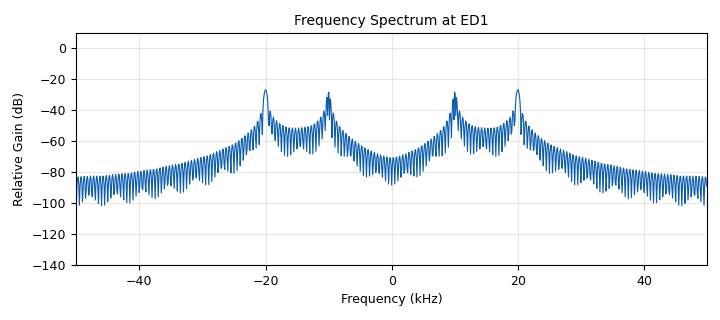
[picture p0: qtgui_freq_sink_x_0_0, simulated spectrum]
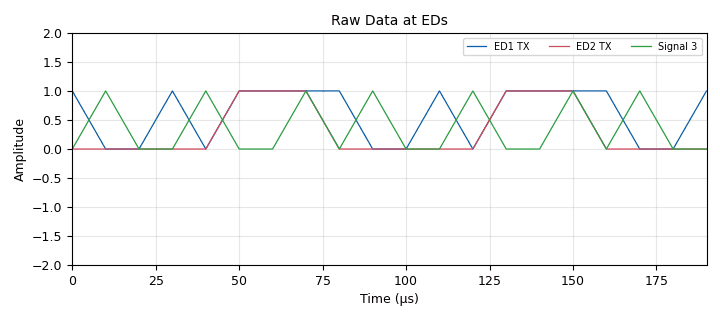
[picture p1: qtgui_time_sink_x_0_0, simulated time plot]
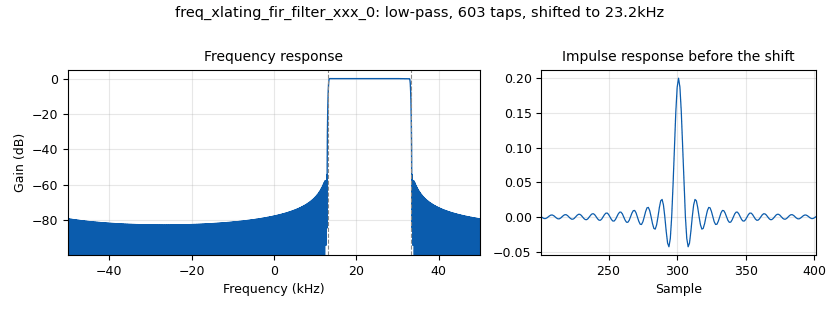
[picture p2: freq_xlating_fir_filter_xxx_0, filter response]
options:
  parameters:
    author: Qi Xiong
    description: FSK_OAC Majority voting with 3 EDs
    generate_options: qt_gui
    id: FSK_3MV
    output_language: python
    title: FSK_3MV
  states: {}

blocks:
- name: baud
  id: variable
  parameters:
    value: 1/0.022
  states: {}
- name: center
  id: variable
  parameters:
    value: '15000'
  states: {}
- name: delay
  id: variable_qtgui_range
  parameters:
    label: Delay
    start: '0'
    step: '1'
    stop: '2500000'
    value: 0/(145+515+50)
  states: {}
- name: freq_offset
  id: variable_qtgui_range
  parameters:
    gui_hint: 3,1,1,1
    label: Freq_offset
    orient: QtCore.Qt.Vertical
    start: '-0.001'
    step: '0.00001'
    stop: '0.001'
    value: '0'
  states: {}
- name: fsk_deviation
  id: variable
  parameters:
    value: '10000'
  states: {}
- name: inp_amp
  id: variable
  parameters:
    value: ((center+(fsk_deviation/2))/vco_max)-vco_offset
  states: {}
- name: noise
  id: variable_qtgui_range
  parameters:
    gui_hint: 3,0,1,1
    label: Noise
    start: '0'
    step: '0.005'
    stop: '1'
    value: '0'
  states: {}
- name: repeat
  id: variable
  parameters:
    value: (int)(samp_rate*0.002)
  states: {}
- name: samp_rate
  id: variable
  parameters:
    value: '100000'
  states: {}
- name: sps
  id: variable
  parameters:
    value: '11'
  states: {}
- name: sq_lvl
  id: variable_qtgui_range
  parameters:
    label: Squelch
    start: '-100'
    step: '5'
    stop: '10'
    value: '-60'
  states: {}
- name: vco_max
  id: variable
  parameters:
    value: '25000'
  states: {}
- name: vco_offset
  id: variable
  parameters:
    value: (center-(fsk_deviation/2))/vco_max
  states: {}
- name: analog_const_source_x_0
  id: analog_const_source_x
  parameters:
    const: '0'
    type: float
  states: {}
- name: analog_const_source_x_0_0
  id: analog_const_source_x
  parameters:
    const: '0'
    type: float
  states: {}
- name: analog_const_source_x_0_0_0
  id: analog_const_source_x
  parameters:
    const: '0'
    type: float
  states: {}
- name: analog_quadrature_demod_cf_1
  id: analog_quadrature_demod_cf
  parameters:
    gain: samp_rate/(2*math.pi*fsk_deviation)
  states: {}
- name: analog_random_source_x_0
  id: analog_random_source_x
  parameters:
    max: '256'
    min: '0'
    num_samps: '1024'
    repeat: 'True'
    type: byte
  states: {state: disabled}
- name: analog_random_source_x_0_0
  id: analog_random_source_x
  parameters:
    max: '256'
    min: '0'
    num_samps: '1024'
    repeat: 'True'
    type: byte
  states: {state: disabled}
- name: analog_simple_squelch_cc_0
  id: analog_simple_squelch_cc
  parameters:
    alpha: '1'
    threshold: sq_lvl
  states: {}
- name: blocks_add_const_vxx_0
  id: blocks_add_const_vxx
  parameters:
    comment: vco_offset
    const: vco_offset
    type: float
  states: {}
- name: blocks_add_const_vxx_0_0
  id: blocks_add_const_vxx
  parameters:
    comment: vco_offset
    const: vco_offset
    type: float
  states: {}
- name: blocks_add_const_vxx_0_0_0
  id: blocks_add_const_vxx
  parameters:
    comment: vco_offset
    const: vco_offset
    type: float
  states: {}
- name: blocks_add_const_vxx_1
  id: blocks_add_const_vxx
  parameters:
    const: '-0.28'
    type: float
  states: {}
- name: blocks_add_const_vxx_1_0
  id: blocks_add_const_vxx
  parameters:
    const: '-1.5'
    type: float
  states: {}
- name: blocks_add_xx_0
  id: blocks_add_xx
  parameters:
    num_inputs: '3'
    type: float
  states: {}
- name: blocks_complex_to_float_0
  id: blocks_complex_to_float
  parameters: {}
  states: {}
- name: blocks_delay_0
  id: blocks_delay
  parameters:
    delay: '4'
    type: float
  states: {}
- name: blocks_file_sink_0
  id: blocks_file_sink
  parameters:
    file: E:\KTH\MaterThesis\Trial0_3ED_ESRX.txt
    type: int
    unbuffered: 'True'
  states: {}
- name: blocks_file_source_0
  id: blocks_file_source
  parameters:
    file: E:\KTH\MaterThesis\Trial1_TX1sequence.txt
    repeat: 'False'
    type: byte
  states: {state: disabled}
- name: blocks_file_source_0_0
  id: blocks_file_source
  parameters:
    file: E:\KTH\MaterThesis\Trial1_TX2sequence.txt
    repeat: 'False'
    type: byte
  states: {state: disabled}
- name: blocks_float_to_complex_1
  id: blocks_float_to_complex
  parameters: {}
  states: {}
- name: blocks_float_to_complex_1_0
  id: blocks_float_to_complex
  parameters: {}
  states: {}
- name: blocks_float_to_complex_1_0_0
  id: blocks_float_to_complex
  parameters: {}
  states: {}
- name: blocks_float_to_int_0
  id: blocks_float_to_int
  parameters:
    scale: '1'
  states: {}
- name: blocks_integrate_xx_0
  id: blocks_integrate_xx
  parameters:
    decim: repeat
    type: float
  states: {}
- name: blocks_multiply_const_vxx_0
  id: blocks_multiply_const_vxx
  parameters:
    comment: inp_amp
    const: inp_amp
    type: float
  states: {}
- name: blocks_multiply_const_vxx_0_0
  id: blocks_multiply_const_vxx
  parameters:
    comment: inp_amp
    const: inp_amp
    type: float
  states: {}
- name: blocks_multiply_const_vxx_0_0_0
  id: blocks_multiply_const_vxx
  parameters:
    comment: inp_amp
    const: inp_amp
    type: float
  states: {}
- name: blocks_multiply_const_vxx_1
  id: blocks_multiply_const_vxx
  parameters:
    const: 1/200
    type: float
  states: {}
- name: blocks_null_sink_0
  id: blocks_null_sink
  parameters:
    type: float
  states: {}
- name: blocks_repeat_0
  id: blocks_repeat
  parameters:
    interp: repeat
    type: byte
  states: {}
- name: blocks_repeat_0_0
  id: blocks_repeat
  parameters:
    interp: repeat
    type: byte
  states: {}
- name: blocks_repeat_0_0_0
  id: blocks_repeat
  parameters:
    interp: repeat
    type: byte
  states: {}
- name: blocks_uchar_to_float_0
  id: blocks_uchar_to_float
  parameters: {}
  states: {}
- name: blocks_uchar_to_float_0_0
  id: blocks_uchar_to_float
  parameters: {}
  states: {}
- name: blocks_uchar_to_float_0_0_0
  id: blocks_uchar_to_float
  parameters: {}
  states: {}
- name: blocks_uchar_to_float_0_0_0_0
  id: blocks_uchar_to_float
  parameters: {}
  states: {}
- name: blocks_uchar_to_float_0_1
  id: blocks_uchar_to_float
  parameters: {}
  states: {}
- name: blocks_uchar_to_float_0_1_0
  id: blocks_uchar_to_float
  parameters: {}
  states: {}
- name: blocks_unpack_k_bits_bb_0
  id: blocks_unpack_k_bits_bb
  parameters:
    k: '1'
  states: {}
- name: blocks_unpack_k_bits_bb_0_0
  id: blocks_unpack_k_bits_bb
  parameters:
    k: '1'
  states: {}
- name: blocks_unpack_k_bits_bb_0_0_0
  id: blocks_unpack_k_bits_bb
  parameters:
    k: '1'
  states: {}
- name: blocks_vco_f_0
  id: blocks_vco_f
  parameters:
    amplitude: '0.5'
    samp_rate: samp_rate
    sensitivity: 15708*10
  states: {}
- name: blocks_vco_f_0_0
  id: blocks_vco_f
  parameters:
    amplitude: '0.5'
    samp_rate: samp_rate
    sensitivity: 15708*10
  states: {}
- name: blocks_vco_f_0_0_0
  id: blocks_vco_f
  parameters:
    amplitude: '0.5'
    samp_rate: samp_rate
    sensitivity: 15708*10
  states: {}
- name: blocks_vector_source_x_0
  id: blocks_vector_source_x
  parameters:
    repeat: 'True'
    type: byte
    vector: (1, 1, 1, 0, 0, 1, 0, 1)
  states: {}
- name: blocks_vector_source_x_0_0
  id: blocks_vector_source_x
  parameters:
    repeat: 'True'
    type: byte
    vector: (1, 1, 0, 0, 0, 0, 0, 1)
  states: {}
- name: blocks_vector_source_x_0_0_0
  id: blocks_vector_source_x
  parameters:
    repeat: 'True'
    type: float
    vector: (1, 1, 0, 0, 0, 0, 0, 1)
  states: {}
- name: blocks_vector_source_x_0_0_1
  id: blocks_vector_source_x
  parameters:
    repeat: 'True'
    type: byte
    vector: (0,0,0,0,1,1,1,0,0,0,0,1,1,0,1,0,1,0,0,0,1,0,0,0,1,1,1,1,1,1,1,0,0,0,1,1,1,0,0,1,0,1,1,0,0,0,1,1,0,1,1,1,1,1,0,1,0,1,0,0,0,1,0,0,0,1,1,0,1,0,1,1,1,1,1,1,1,1,1,0,1,0,1,0,1,0,0,0,0,1,1,1,1,1,1,0,0,1,0,1,1,0,0,0,1,0,0,1,0,1,0,1,0,0,1,0,0,1,0,1,0,0,0,0,1,0,0,0,0,0,0,1,0,1,0,0,1,1,1,0,0,0,1,0,1,0,1,1,1,0,0,0,1,0,0,0,0,1,1,0,1,0,1,1,0,1,0,0,0,1,0,1,1,1,0,0,1,1,1,1,1,0,0,0,0,0,0,1,0,1,1,1,1,0,0,0,1,1,1,0,0,0,1,1,1,0,0,1,0,0,0,1,0,1,0,0,1,1,1,0,1,1,0,0,0,1,0,0,1,1,0,0,0,1,1,0,1,1,1,0,1,1,1,0,1,1,0,1,1,0,0,0,0,0,0,1,0,1,1,0,1,0,0,1,0,0,0,0,1,1,0,0,1,1,0,0,0,1,0,1,0,1,0,0,0,1,1,1,0,0,0,0,0,1,1,0,1,0,0,1,0,0,1,0,1,1,1,0,1,0,0,1,0,0,1,1,1,0,1,1,0,1,1,1,0,1,0,0,0,1,1,1,1,1,0,0,0,0,1,0,0,1,0,1,0,0,0,0,0,1,1,0,0,1,1,1,0,1,1,0,1,0,0,0,0,1,0,1,0,1,0,0,1,1,0,1,0,0,0,1,0,1,0,1,0,0,1,1,0,0,1,0,0,0,1,1,0,1,0,0,1,1,0,1,1,1,1,1,0,1,0,0,0,1,1,0,1,0,0,1,1,1,0,1,0,1,1,1,0,1,0,1,1,0,0,1,0,1,0,0,0,0,0,1,0,0,1,0,1,0,1,1,1,1,1,1,1,1,1,1,0,0,0,0,1,1,1,1,1,0,1,1,1,1,1,1,1,0,0,0,0,0,1,0,1,1,0,1,0,0,1,1,0,1,0,0,0,1,1,1,1,1,1,0,0,0,0,1,1,1,1,1,1,0,0,1,1,1,0,0,0,1,0,1,0,0,0,1,0,0,1,1,1,1,0,1,0,1,1,1,1,1,1,1,1,1,0,0,1,0,0,0,0,0,0,0,0,0,1,1,1,1,1,0,0,0,0,0,0,0,0,1,0,0,1,1,1,1,1,0,1,0,0,0,1,1,0,0,1,0,1,0,0,1,0,0,0,1,0,1,0,1,1,0,0,1,1,1,0,0,1,1,1,0,0,1,0,1,0,0,0,0,1,1,1,1,1,1,0,1,1,0,1,1,1,1,1,1,0,1,0,1,1,1,1,0,1,1,0,0,0,1,1,0,1,0,1,0,1,0,0,0,0,0,1,1,0,1,1,1,1,1,1,1,0,0,1,0,0,1,0,1,0,1,0,0,1,0,1,0,0,1,0,1,0,0,1,1,0,1,1,1,0,0,0,0,1,1,1,0,0,0,1,0,0,0,1,0,0,1,1,0,0,0,0,0,0,0,1,1,1,1,1,1,1,1,0,0,1,1,0,0,1,0,0,1,0,1,0,1,1,1,1,0,0,0,1,0,0,1,0,1,1,0,1,0,0,1,0,1,1,1,0,1,1,0,0,1,0,0,1,1,0,0,1,1,1,1,0,0,1,0,0,1,0,1,1,0,1,1,0,0,1,0,0,1,0,1,0,1,0,1,1,1,1,1,1,1,0,1,0,1,0,0,1,0,1,0,1,1,0,0,1,1,1,0,1,1,0,0,1,1,0,0,0,0,0,0,0,0,0,0,1,0,0,0,1,1,1,1,0,0,1,0,1,1,0,1,1,0,1,0,1,1,0,0,1,0,1,0,1,0,0,0,0,1,0,1,0,0,0,1,1,1,0,1,0,1,1,1,0,0,1,1,1,1,0,1,0,0,0,0,1,1,1,0,1,1,1,0,0,0,1,1,0,1,0,1,1,0,1,0,1,1,0,0,1,1,0,0,1,1,0,0,1,0,1,1,0,1,1,0,0,1,1,1,0,1,0,0,0,0,0,0,0,0,0,1,1,1,0,0,0,1,1,1,0,1,1,1,1,1,1,1,0,0,0,1,0,1,0,0,0,1,1,1,1,1,0,0)
  states: {state: disabled}
- name: blocks_vector_source_x_0_0_1_0
  id: blocks_vector_source_x
  parameters:
    repeat: 'True'
    type: float
    vector: (0,0,0,0,1,1,1,0,0,0,0,1,1,0,1,0,1,0,0,0,1,0,0,0,1,1,1,1,1,1,1,0,0,0,1,1,1,0,0,1,0,1,1,0,0,0,1,1,0,1,1,1,1,1,0,1,0,1,0,0,0,1,0,0,0,1,1,0,1,0,1,1,1,1,1,1,1,1,1,0,1,0,1,0,1,0,0,0,0,1,1,1,1,1,1,0,0,1,0,1,1,0,0,0,1,0,0,1,0,1,0,1,0,0,1,0,0,1,0,1,0,0,0,0,1,0,0,0,0,0,0,1,0,1,0,0,1,1,1,0,0,0,1,0,1,0,1,1,1,0,0,0,1,0,0,0,0,1,1,0,1,0,1,1,0,1,0,0,0,1,0,1,1,1,0,0,1,1,1,1,1,0,0,0,0,0,0,1,0,1,1,1,1,0,0,0,1,1,1,0,0,0,1,1,1,0,0,1,0,0,0,1,0,1,0,0,1,1,1,0,1,1,0,0,0,1,0,0,1,1,0,0,0,1,1,0,1,1,1,0,1,1,1,0,1,1,0,1,1,0,0,0,0,0,0,1,0,1,1,0,1,0,0,1,0,0,0,0,1,1,0,0,1,1,0,0,0,1,0,1,0,1,0,0,0,1,1,1,0,0,0,0,0,1,1,0,1,0,0,1,0,0,1,0,1,1,1,0,1,0,0,1,0,0,1,1,1,0,1,1,0,1,1,1,0,1,0,0,0,1,1,1,1,1,0,0,0,0,1,0,0,1,0,1,0,0,0,0,0,1,1,0,0,1,1,1,0,1,1,0,1,0,0,0,0,1,0,1,0,1,0,0,1,1,0,1,0,0,0,1,0,1,0,1,0,0,1,1,0,0,1,0,0,0,1,1,0,1,0,0,1,1,0,1,1,1,1,1,0,1,0,0,0,1,1,0,1,0,0,1,1,1,0,1,0,1,1,1,0,1,0,1,1,0,0,1,0,1,0,0,0,0,0,1,0,0,1,0,1,0,1,1,1,1,1,1,1,1,1,1,0,0,0,0,1,1,1,1,1,0,1,1,1,1,1,1,1,0,0,0,0,0,1,0,1,1,0,1,0,0,1,1,0,1,0,0,0,1,1,1,1,1,1,0,0,0,0,1,1,1,1,1,1,0,0,1,1,1,0,0,0,1,0,1,0,0,0,1,0,0,1,1,1,1,0,1,0,1,1,1,1,1,1,1,1,1,0,0,1,0,0,0,0,0,0,0,0,0,1,1,1,1,1,0,0,0,0,0,0,0,0,1,0,0,1,1,1,1,1,0,1,0,0,0,1,1,0,0,1,0,1,0,0,1,0,0,0,1,0,1,0,1,1,0,0,1,1,1,0,0,1,1,1,0,0,1,0,1,0,0,0,0,1,1,1,1,1,1,0,1,1,0,1,1,1,1,1,1,0,1,0,1,1,1,1,0,1,1,0,0,0,1,1,0,1,0,1,0,1,0,0,0,0,0,1,1,0,1,1,1,1,1,1,1,0,0,1,0,0,1,0,1,0,1,0,0,1,0,1,0,0,1,0,1,0,0,1,1,0,1,1,1,0,0,0,0,1,1,1,0,0,0,1,0,0,0,1,0,0,1,1,0,0,0,0,0,0,0,1,1,1,1,1,1,1,1,0,0,1,1,0,0,1,0,0,1,0,1,0,1,1,1,1,0,0,0,1,0,0,1,0,1,1,0,1,0,0,1,0,1,1,1,0,1,1,0,0,1,0,0,1,1,0,0,1,1,1,1,0,0,1,0,0,1,0,1,1,0,1,1,0,0,1,0,0,1,0,1,0,1,0,1,1,1,1,1,1,1,0,1,0,1,0,0,1,0,1,0,1,1,0,0,1,1,1,0,1,1,0,0,1,1,0,0,0,0,0,0,0,0,0,0,1,0,0,0,1,1,1,1,0,0,1,0,1,1,0,1,1,0,1,0,1,1,0,0,1,0,1,0,1,0,0,0,0,1,0,1,0,0,0,1,1,1,0,1,0,1,1,1,0,0,1,1,1,1,0,1,0,0,0,0,1,1,1,0,1,1,1,0,0,0,1,1,0,1,0,1,1,0,1,0,1,1,0,0,1,1,0,0,1,1,0,0,1,0,1,1,0,1,1,0,0,1,1,1,0,1,0,0,0,0,0,0,0,0,0,1,1,1,0,0,0,1,1,1,0,1,1,1,1,1,1,1,0,0,0,1,0,1,0,0,0,1,1,1,1,1,0,0)
  states: {state: disabled}
- name: blocks_vector_source_x_0_0_2
  id: blocks_vector_source_x
  parameters:
    repeat: 'True'
    type: byte
    vector: (0, 1, 0, 1, 0, 0, 1, 0)
  states: {}
- name: blocks_vector_source_x_0_0_2_0
  id: blocks_vector_source_x
  parameters:
    repeat: 'True'
    type: float
    vector: (0, 1, 0, 1, 0, 0, 1, 0)
  states: {}
- name: blocks_vector_source_x_0_1
  id: blocks_vector_source_x
  parameters:
    repeat: 'True'
    type: float
    vector: (1, 1, 1, 0, 0, 1, 0, 1)
  states: {}
- name: blocks_vector_source_x_0_2
  id: blocks_vector_source_x
  parameters:
    repeat: 'True'
    type: byte
    vector: (0,1,0,1,1,1,0,1,0,0,1,0,0,0,0,1,1,1,0,1,1,1,0,0,0,1,1,1,0,0,0,0,1,1,1,1,1,1,1,1,0,1,1,1,1,1,1,1,1,1,1,0,1,1,0,0,1,0,1,1,1,0,1,1,0,1,0,1,0,1,0,1,1,1,0,0,1,1,1,0,0,1,0,1,1,0,0,1,1,1,1,0,0,1,0,1,0,1,1,0,0,0,0,0,1,0,1,0,1,1,1,1,1,1,0,0,0,1,0,0,1,1,0,0,0,1,0,1,0,0,1,1,1,0,1,1,1,0,1,1,0,0,0,1,1,1,1,1,0,1,1,1,0,1,0,1,1,1,0,0,1,1,1,0,1,1,1,1,1,0,0,0,0,0,0,0,1,1,1,1,1,0,1,1,1,1,1,1,0,1,0,0,1,1,1,1,1,1,1,0,1,0,1,1,1,1,0,1,1,1,0,0,1,1,0,1,0,1,0,1,0,1,1,0,0,1,0,1,1,0,1,1,1,0,1,0,1,0,1,1,0,1,0,0,0,1,0,0,0,0,1,0,0,0,1,1,0,0,1,0,0,0,1,1,1,0,0,0,1,1,0,1,1,1,0,1,0,1,0,1,1,0,0,0,0,1,1,1,0,0,0,1,0,1,0,1,1,0,1,1,1,1,1,1,1,1,0,0,1,0,0,1,0,1,0,1,1,1,0,0,0,1,0,0,1,0,0,0,1,0,1,1,1,0,1,1,1,0,1,0,1,1,1,0,1,1,1,1,0,1,1,0,1,0,1,1,0,0,0,0,0,1,0,0,1,0,0,1,1,1,0,0,0,0,1,1,1,0,0,0,1,0,1,0,0,0,1,0,0,1,0,0,0,1,1,0,1,0,0,0,1,0,0,1,0,0,1,1,0,0,0,0,0,0,0,0,1,1,1,1,0,1,0,0,1,1,0,1,0,1,0,0,0,0,0,1,0,1,1,1,1,0,0,0,0,0,0,0,0,1,0,1,0,0,1,0,0,1,0,1,0,0,1,0,0,1,1,1,1,1,1,0,1,0,1,1,1,1,1,0,0,1,1,1,0,0,0,0,1,1,1,0,1,0,1,0,1,0,0,1,0,1,0,0,0,0,0,1,0,1,1,1,0,0,1,1,1,1,0,0,0,0,1,0,1,0,1,0,0,0,0,0,1,0,0,1,1,0,0,1,1,1,0,1,0,1,0,1,1,0,1,1,0,0,0,1,1,1,0,1,0,0,1,1,0,0,0,0,0,0,0,0,0,1,1,1,0,0,0,0,0,0,1,1,0,1,1,0,1,0,0,0,1,0,0,0,0,1,1,0,1,0,0,1,0,1,0,0,1,0,0,0,0,0,0,1,1,0,1,1,0,1,1,1,0,0,1,1,1,0,1,1,1,1,1,0,1,1,0,0,1,0,0,0,0,0,0,0,0,0,1,1,1,1,1,1,1,1,1,0,1,0,1,1,0,1,1,0,0,0,0,0,1,1,0,0,1,0,0,0,0,1,1,1,1,1,1,1,0,1,0,0,0,0,0,1,0,0,1,0,1,1,0,0,0,1,1,1,1,1,0,1,1,1,1,0,1,0,1,1,0,1,1,0,0,0,1,0,0,1,0,1,0,1,1,1,1,0,1,1,0,1,0,1,0,1,1,1,0,1,0,1,0,0,0,0,1,0,0,0,0,0,1,0,0,1,0,1,0,0,0,0,1,1,1,0,1,0,0,1,0,1,0,1,1,1,0,1,1,0,0,1,0,1,0,1,1,1,1,0,1,1,1,1,0,1,0,0,1,1,1,1,0,0,1,0,1,0,1,0,0,0,1,1,1,0,1,0,1,0,0,1,0,1,1,1,0,0,1,1,1,0,0,0,0,0,1,0,0,0,1,0,1,1,0,1,1,0,1,0,0,1,0,0,0,0,0,0,1,0,0,1,1,0,1,1,0,0,0,1,0,0,1,0,1,1,1,1,1,0,1,0,1,0,1,1,0,0,1,1,0,0,0,1,1,0,0,0,1,1,0,0,0,0,0,0,0,1,0,1,1,1,1,1,0,0,0,0,1,1,0,0,0,0,0,0,0,0,0,1,0,0,0,0,0,0,0,0,1,1,0,1,1,1,0,0,1,0,1,1,1,0,0,1,1,1,0,1,0,1,0,0,0,1,0,0,1,0,1,1,1,1,1,0,1,0,1,1,0,1,1,0,1,0,0,1,0,1,0,0)
  states: {state: disabled}
- name: blocks_vector_source_x_0_2_0
  id: blocks_vector_source_x
  parameters:
    repeat: 'True'
    type: float
    vector: (0,1,0,1,1,1,0,1,0,0,1,0,0,0,0,1,1,1,0,1,1,1,0,0,0,1,1,1,0,0,0,0,1,1,1,1,1,1,1,1,0,1,1,1,1,1,1,1,1,1,1,0,1,1,0,0,1,0,1,1,1,0,1,1,0,1,0,1,0,1,0,1,1,1,0,0,1,1,1,0,0,1,0,1,1,0,0,1,1,1,1,0,0,1,0,1,0,1,1,0,0,0,0,0,1,0,1,0,1,1,1,1,1,1,0,0,0,1,0,0,1,1,0,0,0,1,0,1,0,0,1,1,1,0,1,1,1,0,1,1,0,0,0,1,1,1,1,1,0,1,1,1,0,1,0,1,1,1,0,0,1,1,1,0,1,1,1,1,1,0,0,0,0,0,0,0,1,1,1,1,1,0,1,1,1,1,1,1,0,1,0,0,1,1,1,1,1,1,1,0,1,0,1,1,1,1,0,1,1,1,0,0,1,1,0,1,0,1,0,1,0,1,1,0,0,1,0,1,1,0,1,1,1,0,1,0,1,0,1,1,0,1,0,0,0,1,0,0,0,0,1,0,0,0,1,1,0,0,1,0,0,0,1,1,1,0,0,0,1,1,0,1,1,1,0,1,0,1,0,1,1,0,0,0,0,1,1,1,0,0,0,1,0,1,0,1,1,0,1,1,1,1,1,1,1,1,0,0,1,0,0,1,0,1,0,1,1,1,0,0,0,1,0,0,1,0,0,0,1,0,1,1,1,0,1,1,1,0,1,0,1,1,1,0,1,1,1,1,0,1,1,0,1,0,1,1,0,0,0,0,0,1,0,0,1,0,0,1,1,1,0,0,0,0,1,1,1,0,0,0,1,0,1,0,0,0,1,0,0,1,0,0,0,1,1,0,1,0,0,0,1,0,0,1,0,0,1,1,0,0,0,0,0,0,0,0,1,1,1,1,0,1,0,0,1,1,0,1,0,1,0,0,0,0,0,1,0,1,1,1,1,0,0,0,0,0,0,0,0,1,0,1,0,0,1,0,0,1,0,1,0,0,1,0,0,1,1,1,1,1,1,0,1,0,1,1,1,1,1,0,0,1,1,1,0,0,0,0,1,1,1,0,1,0,1,0,1,0,0,1,0,1,0,0,0,0,0,1,0,1,1,1,0,0,1,1,1,1,0,0,0,0,1,0,1,0,1,0,0,0,0,0,1,0,0,1,1,0,0,1,1,1,0,1,0,1,0,1,1,0,1,1,0,0,0,1,1,1,0,1,0,0,1,1,0,0,0,0,0,0,0,0,0,1,1,1,0,0,0,0,0,0,1,1,0,1,1,0,1,0,0,0,1,0,0,0,0,1,1,0,1,0,0,1,0,1,0,0,1,0,0,0,0,0,0,1,1,0,1,1,0,1,1,1,0,0,1,1,1,0,1,1,1,1,1,0,1,1,0,0,1,0,0,0,0,0,0,0,0,0,1,1,1,1,1,1,1,1,1,0,1,0,1,1,0,1,1,0,0,0,0,0,1,1,0,0,1,0,0,0,0,1,1,1,1,1,1,1,0,1,0,0,0,0,0,1,0,0,1,0,1,1,0,0,0,1,1,1,1,1,0,1,1,1,1,0,1,0,1,1,0,1,1,0,0,0,1,0,0,1,0,1,0,1,1,1,1,0,1,1,0,1,0,1,0,1,1,1,0,1,0,1,0,0,0,0,1,0,0,0,0,0,1,0,0,1,0,1,0,0,0,0,1,1,1,0,1,0,0,1,0,1,0,1,1,1,0,1,1,0,0,1,0,1,0,1,1,1,1,0,1,1,1,1,0,1,0,0,1,1,1,1,0,0,1,0,1,0,1,0,0,0,1,1,1,0,1,0,1,0,0,1,0,1,1,1,0,0,1,1,1,0,0,0,0,0,1,0,0,0,1,0,1,1,0,1,1,0,1,0,0,1,0,0,0,0,0,0,1,0,0,1,1,0,1,1,0,0,0,1,0,0,1,0,1,1,1,1,1,0,1,0,1,0,1,1,0,0,1,1,0,0,0,1,1,0,0,0,1,1,0,0,0,0,0,0,0,1,0,1,1,1,1,1,0,0,0,0,1,1,0,0,0,0,0,0,0,0,0,1,0,0,0,0,0,0,0,0,1,1,0,1,1,1,0,0,1,0,1,1,1,0,0,1,1,1,0,1,0,1,0,0,0,1,0,0,1,0,1,1,1,1,1,0,1,0,1,1,0,1,1,0,1,0,0,1,0,1,0,0)
  states: {state: disabled}
- name: digital_binary_slicer_fb_0
  id: digital_binary_slicer_fb
  parameters: {}
  states: {}
- name: digital_binary_slicer_fb_0_0
  id: digital_binary_slicer_fb
  parameters: {}
  states: {}
- name: digital_binary_slicer_fb_0_0_0
  id: digital_binary_slicer_fb
  parameters: {}
  states: {}
- name: freq_xlating_fir_filter_xxx_0
  id: freq_xlating_fir_filter_xxx
  parameters:
    center_freq: center+8200
    decim: '1'
    samp_rate: samp_rate
    taps: firdes.low_pass(1.0,samp_rate,10000,400)
    type: fcf
  states: {}
- name: iio_pluto_sink_0
  id: iio_pluto_sink
  parameters:
    attenuation1: '10.0'
    bandwidth: '20000000'
    buffer_size: '4096'
    cyclic: 'False'
    filter_source: '''Auto'''
    frequency: '2400000000'
    samplerate: samp_rate
    type: fc32
    uri: ip:192.168.2.1
  states: {}
- name: iio_pluto_sink_0_0
  id: iio_pluto_sink
  parameters:
    attenuation1: '10.0'
    bandwidth: '20000000'
    buffer_size: '4096'
    cyclic: 'False'
    filter_source: '''Auto'''
    frequency: '2400000000'
    samplerate: samp_rate
    type: fc32
    uri: ip:192.168.6.1
  states: {}
- name: iio_pluto_sink_0_0_0
  id: iio_pluto_sink
  parameters:
    attenuation1: '10.0'
    bandwidth: '20000000'
    buffer_size: '4096'
    cyclic: 'False'
    filter_source: '''Auto'''
    frequency: '2400000000'
    samplerate: samp_rate
    type: fc32
    uri: ip:192.168.5.1
  states: {}
- name: iio_pluto_source_0
  id: iio_pluto_source
  parameters:
    bandwidth: '20000000'
    bbdc: 'True'
    buffer_size: '4096'
    filter_source: '''Auto'''
    frequency: '2400000000'
    gain1: '''slow_attack'''
    quadrature: 'True'
    rfdc: 'True'
    samplerate: samp_rate
    type: fc32
    uri: ip:192.168.4.1
  states: {}
- name: qtgui_eye_sink_x_0
  id: qtgui_eye_sink_x
  parameters:
    samp_per_symbol: sps
    size: '1024'
    srate: '500'
    tr_mode: qtgui.TRIG_MODE_AUTO
    tr_tag: ''
    type: float
  states: {state: disabled}
- name: qtgui_freq_sink_x_0
  id: qtgui_freq_sink_x
  parameters:
    average: '0.1'
    bw: samp_rate
    fc: '0'
    fftsize: '1024'
    gui_hint: 1,0,1,1
    name: '"Frequency Spectrum at ES RX"'
    type: complex
    ymin: '-160'
  states: {}
- name: qtgui_freq_sink_x_0_0
  id: qtgui_freq_sink_x
  parameters:
    bw: samp_rate
    fc: '0'
    fftsize: '1024'
    gui_hint: 0,0,1,1
    name: '"Frequency Spectrum at ED1"'
    type: complex
  states: {}
- name: qtgui_freq_sink_x_0_0_0
  id: qtgui_freq_sink_x
  parameters:
    bw: samp_rate
    fc: '0'
    fftsize: '1024'
    gui_hint: 0,1,1,1
    type: complex
  states: {state: disabled}
- name: qtgui_time_sink_x_0
  id: qtgui_time_sink_x
  parameters:
    ctrlpanel: 'True'
    label1: OAC_Result
    label2: Direct_adding
    name: '"Comparison Between AirComp and Ground True"'
    nconnections: '2'
    size: '20'
    srate: samp_rate
    tr_level: '0.5'
    tr_mode: qtgui.TRIG_MODE_NORM
    tr_slope: qtgui.TRIG_SLOPE_NEG
    type: float
    ymax: '2'
    ymin: '-2'
  states: {}
- name: qtgui_time_sink_x_0_0
  id: qtgui_time_sink_x
  parameters:
    ctrlpanel: 'True'
    gui_hint: 1,1,1,1
    label1: ED1 TX
    label2: ED2 TX
    name: '"Raw Data at EDs"'
    nconnections: '3'
    size: '20'
    srate: samp_rate
    style2: '2'
    tr_level: '0.5'
    tr_mode: qtgui.TRIG_MODE_NORM
    tr_slope: qtgui.TRIG_SLOPE_NEG
    type: float
    ymax: '2'
    ymin: '-2'
  states: {}
- name: rational_resampler_xxx_0_0
  id: rational_resampler_xxx
  parameters:
    comment: |-
      sample rate 500 ->
      11 samples per symbol
    decim: '96'
    interp: '1'
    taps: ''
    type: fff
  states: {state: disabled}
- name: virtual_sink_0
  id: virtual_sink
  parameters:
    stream_id: '"xmt_data"'
  states: {}
- name: virtual_sink_0_0
  id: virtual_sink
  parameters:
    stream_id: '"xmt_data_1"'
  states: {}
- name: virtual_sink_0_0_0
  id: virtual_sink
  parameters:
    stream_id: '"xmt_data_2"'
  states: {}
- name: virtual_source_0
  id: virtual_source
  parameters:
    stream_id: '"xmt_data"'
  states: {}
- name: virtual_source_0_1
  id: virtual_source
  parameters:
    stream_id: '"xmt_data_1"'
  states: {}
- name: virtual_source_0_1_0
  id: virtual_source
  parameters:
    stream_id: '"xmt_data_2"'
  states: {}

connections:
- [analog_const_source_x_0, '0', blocks_float_to_complex_1, '1']
- [analog_const_source_x_0_0, '0', blocks_float_to_complex_1_0, '1']
- [analog_const_source_x_0_0_0, '0', blocks_float_to_complex_1_0_0, '1']
- [analog_quadrature_demod_cf_1, '0', digital_binary_slicer_fb_0, '0']
- [analog_quadrature_demod_cf_1, '0', rational_resampler_xxx_0_0, '0']
- [analog_random_source_x_0, '0', blocks_unpack_k_bits_bb_0, '0']
- [analog_random_source_x_0_0, '0', blocks_unpack_k_bits_bb_0_0, '0']
- [analog_simple_squelch_cc_0, '0', analog_quadrature_demod_cf_1, '0']
- [blocks_add_const_vxx_0, '0', blocks_vco_f_0, '0']
- [blocks_add_const_vxx_0_0, '0', blocks_vco_f_0_0, '0']
- [blocks_add_const_vxx_0_0_0, '0', blocks_vco_f_0_0_0, '0']
- [blocks_add_const_vxx_1, '0', digital_binary_slicer_fb_0_0, '0']
- [blocks_add_const_vxx_1_0, '0', digital_binary_slicer_fb_0_0_0, '0']
- [blocks_add_xx_0, '0', blocks_add_const_vxx_1_0, '0']
- [blocks_complex_to_float_0, '0', freq_xlating_fir_filter_xxx_0, '0']
- [blocks_complex_to_float_0, '1', blocks_null_sink_0, '0']
- [blocks_delay_0, '0', qtgui_time_sink_x_0, '1']
- [blocks_file_source_0, '0', blocks_unpack_k_bits_bb_0, '0']
- [blocks_file_source_0_0, '0', blocks_unpack_k_bits_bb_0_0, '0']
- [blocks_float_to_complex_1, '0', iio_pluto_sink_0, '0']
- [blocks_float_to_complex_1, '0', qtgui_freq_sink_x_0_0, '0']
- [blocks_float_to_complex_1_0, '0', iio_pluto_sink_0_0, '0']
- [blocks_float_to_complex_1_0, '0', qtgui_freq_sink_x_0_0_0, '0']
- [blocks_float_to_complex_1_0_0, '0', iio_pluto_sink_0_0_0, '0']
- [blocks_float_to_int_0, '0', blocks_file_sink_0, '0']
- [blocks_integrate_xx_0, '0', blocks_multiply_const_vxx_1, '0']
- [blocks_multiply_const_vxx_0, '0', blocks_add_const_vxx_0, '0']
- [blocks_multiply_const_vxx_0_0, '0', blocks_add_const_vxx_0_0, '0']
- [blocks_multiply_const_vxx_0_0_0, '0', blocks_add_const_vxx_0_0_0, '0']
- [blocks_multiply_const_vxx_1, '0', blocks_add_const_vxx_1, '0']
- [blocks_repeat_0, '0', blocks_uchar_to_float_0, '0']
- [blocks_repeat_0_0, '0', blocks_uchar_to_float_0_1, '0']
- [blocks_repeat_0_0_0, '0', blocks_uchar_to_float_0_1_0, '0']
- [blocks_uchar_to_float_0, '0', virtual_sink_0, '0']
- [blocks_uchar_to_float_0_0, '0', blocks_integrate_xx_0, '0']
- [blocks_uchar_to_float_0_0_0, '0', blocks_float_to_int_0, '0']
- [blocks_uchar_to_float_0_0_0, '0', qtgui_time_sink_x_0, '0']
- [blocks_uchar_to_float_0_0_0_0, '0', blocks_delay_0, '0']
- [blocks_uchar_to_float_0_1, '0', virtual_sink_0_0, '0']
- [blocks_uchar_to_float_0_1_0, '0', virtual_sink_0_0_0, '0']
- [blocks_unpack_k_bits_bb_0, '0', blocks_repeat_0, '0']
- [blocks_unpack_k_bits_bb_0_0, '0', blocks_repeat_0_0, '0']
- [blocks_unpack_k_bits_bb_0_0_0, '0', blocks_repeat_0_0_0, '0']
- [blocks_vco_f_0, '0', blocks_float_to_complex_1, '0']
- [blocks_vco_f_0_0, '0', blocks_float_to_complex_1_0, '0']
- [blocks_vco_f_0_0_0, '0', blocks_float_to_complex_1_0_0, '0']
- [blocks_vector_source_x_0, '0', blocks_unpack_k_bits_bb_0, '0']
- [blocks_vector_source_x_0_0, '0', blocks_unpack_k_bits_bb_0_0, '0']
- [blocks_vector_source_x_0_0_0, '0', blocks_add_xx_0, '1']
- [blocks_vector_source_x_0_0_0, '0', qtgui_time_sink_x_0_0, '1']
- [blocks_vector_source_x_0_0_1, '0', blocks_unpack_k_bits_bb_0_0, '0']
- [blocks_vector_source_x_0_0_1_0, '0', qtgui_time_sink_x_0_0, '1']
- [blocks_vector_source_x_0_0_2, '0', blocks_unpack_k_bits_bb_0_0_0, '0']
- [blocks_vector_source_x_0_0_2_0, '0', blocks_add_xx_0, '2']
- [blocks_vector_source_x_0_0_2_0, '0', qtgui_time_sink_x_0_0, '2']
- [blocks_vector_source_x_0_1, '0', blocks_add_xx_0, '0']
- [blocks_vector_source_x_0_1, '0', qtgui_time_sink_x_0_0, '0']
- [blocks_vector_source_x_0_2, '0', blocks_unpack_k_bits_bb_0, '0']
- [blocks_vector_source_x_0_2_0, '0', qtgui_time_sink_x_0_0, '0']
- [digital_binary_slicer_fb_0, '0', blocks_uchar_to_float_0_0, '0']
- [digital_binary_slicer_fb_0_0, '0', blocks_uchar_to_float_0_0_0, '0']
- [digital_binary_slicer_fb_0_0_0, '0', blocks_uchar_to_float_0_0_0_0, '0']
- [freq_xlating_fir_filter_xxx_0, '0', analog_simple_squelch_cc_0, '0']
- [iio_pluto_source_0, '0', blocks_complex_to_float_0, '0']
- [iio_pluto_source_0, '0', qtgui_freq_sink_x_0, '0']
- [rational_resampler_xxx_0_0, '0', qtgui_eye_sink_x_0, '0']
- [virtual_source_0, '0', blocks_multiply_const_vxx_0, '0']
- [virtual_source_0_1, '0', blocks_multiply_const_vxx_0_0, '0']
- [virtual_source_0_1_0, '0', blocks_multiply_const_vxx_0_0_0, '0']

metadata:
  file_format: 1
  grc_version: 3.10.9.2
